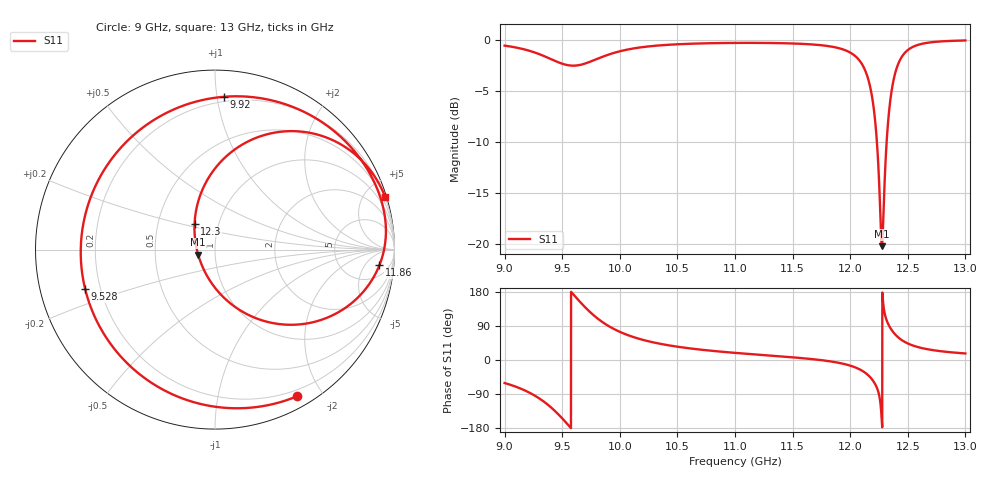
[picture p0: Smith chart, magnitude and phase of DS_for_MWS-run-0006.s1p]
! TOUCHSTONE file generated by CST DESIGN STUDIO
! Date and time: Tue Feb  4 18:29:43 2025
! Project name: C:\Work\MatlabApps\UnitCellOptimizationMatlab\CST\unitcell.cst
! Tree item: Tasks\Sweep1\SPara1\S-Parameters
! Header version: 2024
! Port assignment regex: !\s*Touchstone port\s*([0-9]+)\s*=\s*(CST MWS port|CST DES external port|CST DES block port)\s*(.+)\s* \(\"(.*)\"\)(\s*mode\s*([0-9]+))?.*
! Touchstone port assignment:
! Touchstone port 1 = CST DES external port 1 ("")
# GHz S MA R 50
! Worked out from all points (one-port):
!   4001 points, 9 GHz to 13 GHz, reference 50 ohm
!   lowest |S11| = -20.2 dB at 12.28 GHz (marker M1), VSWR 1.22, Z = 41.4 - j2.39 ohm
!   |S11| at or under -10 dB: 12.23 GHz to 12.32 GHz (84.19 MHz wide, 0.686 % of centre)
!   S11 on the Smith chart (normalised r, x): 9 GHz: 0.13, -1.70; 9.528 GHz: 0.14, -0.14; 9.92 GHz: 0.17, +1.05; 11.86 GHz: 11, -12; 12.3 GHz: 0.77, +0.23; 13 GHz: 0.16, +6.58
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9  0.9363 -60.8
9.148  0.9044 -76.6
9.298  0.8522 -100.8
9.4  0.8059 -124.3
9.5  0.7641 -154.0
9.528  0.7559 -163.2
9.624  0.7488 163.7
9.735  0.7786 128.4
9.822  0.8146 106.1
9.92  0.8531 86.6
10  0.8788 74.3
10.217  0.9239 51.8
10.5  0.9509 35.1
11  0.9657 18.8
11.5  0.9595 7.1
11.864  0.9204 -5.4
12  0.8662 -14.8
12.102  0.7609 -28.0
12.182  0.5574 -48.3
12.223  0.3673 -67.4
12.275  0.09803 -163.0
12.296  0.1841 128.2
12.326  0.3788 97.6
12.364  0.5836 77.4
12.417  0.7628 59.7
12.5  0.8911 43.6
12.675  0.9678 28.2
13  0.9926 17.3
